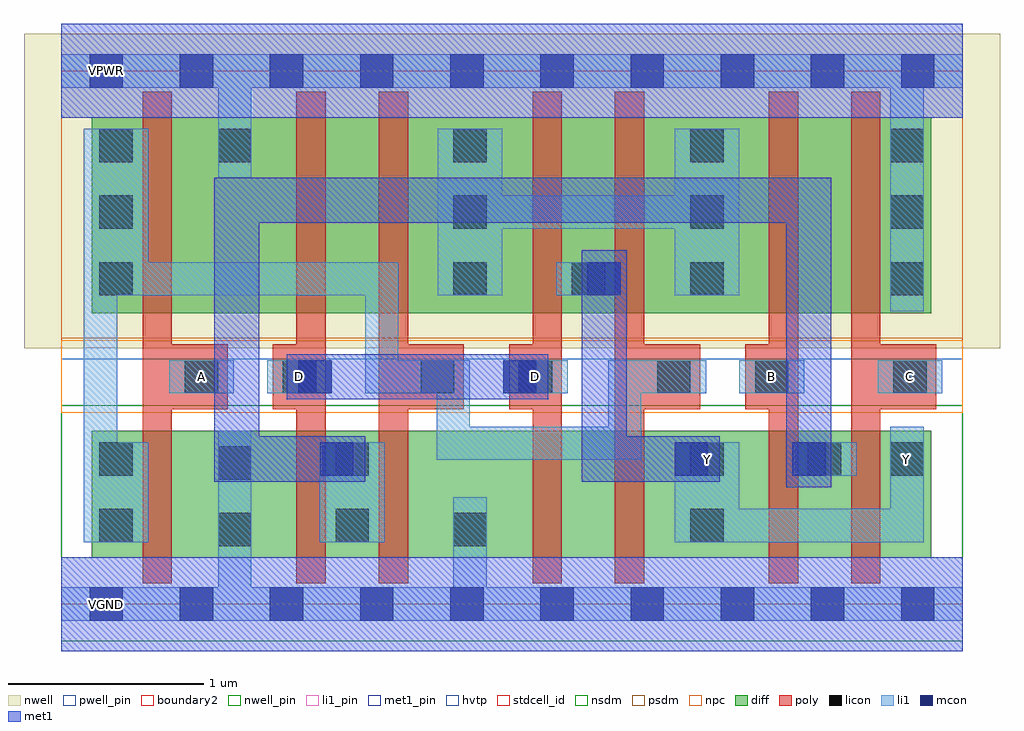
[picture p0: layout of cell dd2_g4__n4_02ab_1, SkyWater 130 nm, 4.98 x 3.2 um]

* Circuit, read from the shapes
.subckt dd2_g4__n4_02ab_1 A B C D VGND VNB VPB VPWR Y
XM1 VGND A n1 VNB sky130_fd_pr__nfet_01v8 w=0.65 l=0.15
XM2 n2 D VGND VNB sky130_fd_pr__nfet_01v8 w=0.65 l=0.15
XM3 VGND n1 n2 VNB sky130_fd_pr__nfet_01v8 w=0.65 l=0.15
XM4 n3 D VGND VNB sky130_fd_pr__nfet_01v8 w=0.65 l=0.15
XM5 Y n1 n3 VNB sky130_fd_pr__nfet_01v8 w=0.65 l=0.15
XM6 n2 B Y VNB sky130_fd_pr__nfet_01v8 w=0.65 l=0.15
XM7 Y C n2 VNB sky130_fd_pr__nfet_01v8 w=0.65 l=0.15
XM8 VPWR A n1 VPB sky130_fd_pr__pfet_01v8_hvt w=1 l=0.15
XM9 n4 D VPWR VPB sky130_fd_pr__pfet_01v8_hvt w=1 l=0.15
XM10 n5 n1 n4 VPB sky130_fd_pr__pfet_01v8_hvt w=1 l=0.15
XM11 Y D n5 VPB sky130_fd_pr__pfet_01v8_hvt w=1 l=0.15
XM12 n5 n1 Y VPB sky130_fd_pr__pfet_01v8_hvt w=1 l=0.15
XM13 n6 B n5 VPB sky130_fd_pr__pfet_01v8_hvt w=1 l=0.15
XM14 VPWR C n6 VPB sky130_fd_pr__pfet_01v8_hvt w=1 l=0.15
.ends

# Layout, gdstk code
import gdstk
lib = gdstk.Library(unit=1e-6, precision=1e-09)
def R(c, l, rs):  # rectangles x0, y0, x1, y1
    for r in rs: c.add(gdstk.rectangle(r[:2], r[2:], *l))
def A(c, l, x, y, w, h, nx, ny, dx, dy):  # array of equal rectangles
    R(c, l, [(x+i*dx, y+j*dy, x+i*dx+w, y+j*dy+h) for i in range(nx) for j in range(ny)])
nwell_pin = (64, 16)
nwell = (64, 20)
diff = (65, 20)
poly = (66, 20)
licon = (66, 44)
li1_pin = (67, 16)
li1 = (67, 20)
mcon = (67, 44)
met1_pin = (68, 16)
met1 = (68, 20)
hvtp = (78, 44)
stdcell_id = (81, 4)
nsdm = (93, 44)
psdm = (94, 20)
npc = (95, 20)
pwell_pin = (122, 16)
boundary2 = (236, 0)

dd2_g4__n4_02ab_1 = lib.new_cell('dd2_g4__n4_02ab_1')
R(dd2_g4__n4_02ab_1, nwell_pin, [(0.145,2.635,0.315,2.805)])
R(dd2_g4__n4_02ab_1, nwell, [(-0.19,1.305,4.79,2.91)])
R(dd2_g4__n4_02ab_1, diff, [(0.155,0.235,0.88,0.885), (0.88,0.235,1.485,0.885), (1.485,0.235,2.09,0.885), (2.09,0.235,2.69,0.885), (2.69,0.235,3.29,0.885), (3.29,0.235,3.895,0.885), (3.895,0.235,4.44,0.885), (0.155,1.485,0.88,2.485), (0.88,1.485,1.485,2.485), (1.485,1.485,2.09,2.485), (2.09,1.485,2.69,2.485), (2.69,1.485,3.29,2.485), (3.29,1.485,3.895,2.485), (3.895,1.485,4.44,2.485)])
A(dd2_g4__n4_02ab_1, poly, 0.415, 0.995, 0.435, 0.33, 4, 1, 1.205, 0)
A(dd2_g4__n4_02ab_1, poly, 1.08, 0.995, 0.27, 0.33, 3, 1, 1.205, 0)
R(dd2_g4__n4_02ab_1, poly, [(0.415,0.105,0.565,2.615), (1.2,0.105,1.35,2.615), (1.62,0.105,1.77,2.615), (2.405,0.105,2.555,2.615), (2.825,0.105,2.975,2.615), (3.61,0.105,3.76,2.615), (4.03,0.105,4.18,2.615)])
A(dd2_g4__n4_02ab_1, licon, 0.195, 1.575, 0.17, 0.17, 1, 3, 0, 0.34)
A(dd2_g4__n4_02ab_1, licon, 2, 1.575, 0.17, 0.17, 3, 1, 0.605, 0)
A(dd2_g4__n4_02ab_1, licon, 4.23, 1.575, 0.17, 0.17, 1, 3, 0, 0.34)
R(dd2_g4__n4_02ab_1, licon, [(0.8,0.295,0.97,0.465), (2,0.295,2.17,0.465), (0.195,0.315,0.365,0.485), (1.4,0.315,1.57,0.485), (3.21,0.315,3.38,0.485), (0.8,0.635,0.97,0.805), (0.195,0.655,0.365,0.825), (1.4,0.655,1.57,0.825), (3.21,0.655,3.38,0.825), (3.81,0.655,3.98,0.825), (4.23,0.655,4.4,0.825), (0.63,1.075,0.8,1.245), (1.13,1.075,1.3,1.245), (1.835,1.075,2.005,1.245), (2.335,1.075,2.505,1.245), (3.04,1.075,3.21,1.245), (3.54,1.075,3.71,1.245), (4.245,1.075,4.415,1.245), (2,1.915,2.17,2.085), (3.21,1.915,3.38,2.085), (0.8,2.255,0.97,2.425), (2,2.255,2.17,2.425), (3.21,2.255,3.38,2.425)])
A(dd2_g4__n4_02ab_1, li1_pin, 1.13, 1.075, 0.17, 0.17, 3, 1, 1.205, 0)
R(dd2_g4__n4_02ab_1, li1_pin, [(3.21,0.655,3.38,0.825), (4.23,0.655,4.4,0.825), (0.63,1.075,0.8,1.245), (4.245,1.075,4.415,1.245)])
A(dd2_g4__n4_02ab_1, li1, 1.92, 1.575, 0.33, 0.17, 3, 1, 0.605, 0)
R(dd2_g4__n4_02ab_1, li1, [(0,-0.085,4.6,0.085), (0.8,-0.085,0.97,0.545), (2,-0.085,2.17,0.545), (0.8,0.295,0.97,0.885), (0.115,0.315,0.445,0.825), (1.32,0.315,1.65,0.825), (3.13,0.315,3.46,0.825), (3.29,0.315,3.46,0.825), (3.29,0.315,4.4,0.485), (4.23,0.315,4.4,0.745), (4.23,0.485,4.4,0.575), (4.23,0.485,4.4,0.575), (4.23,0.485,4.4,0.575), (4.23,0.485,4.4,0.575), (4.23,0.575,4.4,0.905), (0.115,0.655,0.445,0.825), (0.115,0.655,0.285,1.745), (1.32,0.655,1.65,0.825), (3.13,0.655,3.46,0.825), (3.73,0.655,4.06,0.825), (1.915,0.735,2.085,1.245), (1.915,0.735,2.96,0.905), (2.79,0.735,2.96,1.245), (0.55,1.075,0.88,1.245), (1.05,1.075,1.38,1.245), (1.55,1.075,1.925,1.245), (1.55,1.075,1.72,1.745), (1.72,1.075,1.755,1.245), (1.72,1.075,1.755,1.245), (1.72,1.075,1.755,1.245), (1.72,1.075,1.755,1.245), (1.72,1.075,1.755,1.245), (1.72,1.075,1.755,1.245), (1.72,1.075,1.755,1.245), (1.72,1.075,1.755,1.245), (1.755,1.075,2.085,1.245), (1.755,1.075,1.915,1.245), (1.755,1.075,1.915,1.245), (1.755,1.075,1.915,1.245), (1.755,1.075,1.915,1.245), (1.755,1.075,1.915,1.245), (1.755,1.075,1.915,1.245), (1.755,1.075,1.915,1.245), (2.255,1.075,2.585,1.245), (2.79,1.075,3.13,1.245), (2.96,1.075,3.29,1.245), (3.46,1.075,3.79,1.245), (4.165,1.075,4.495,1.245), (4.23,1.495,4.4,2.085), (0.115,1.575,0.445,1.745), (0.115,1.575,0.445,2.085), (0.275,1.575,1.72,1.745), (1.92,1.575,2.25,2.085), (2.08,1.575,2.25,2.085), (3.13,1.575,3.3,2.085), (3.13,1.575,3.46,2.085), (4.23,1.835,4.4,2.425), (0.115,1.915,0.445,2.425), (1.92,1.915,2.25,2.425), (2.08,1.915,3.3,2.085), (3.13,1.915,3.46,2.425), (4.23,2.085,4.4,2.175), (4.23,2.085,4.4,2.175), (4.23,2.085,4.4,2.175), (4.23,2.085,4.4,2.175), (0.8,2.175,0.97,2.805), (4.23,2.175,4.4,2.805), (0,2.635,4.6,2.805)])
A(dd2_g4__n4_02ab_1, mcon, 0.145, -0.085, 0.17, 0.17, 10, 2, 0.46, 2.72)
R(dd2_g4__n4_02ab_1, mcon, [(1.32,0.655,1.49,0.825), (3.13,0.655,3.3,0.825), (3.73,0.655,3.9,0.825), (1.21,1.075,1.38,1.245), (2.255,1.075,2.425,1.245), (2.685,1.575,2.855,1.745)])
R(dd2_g4__n4_02ab_1, met1_pin, [(0.145,-0.085,0.315,0.085), (0.145,2.635,0.315,2.805)])
R(dd2_g4__n4_02ab_1, met1, [(0,-0.24,4.6,0.24), (3.7,0.595,3.93,0.885), (0.78,0.625,1.52,0.855), (0.78,0.625,1.01,2.175), (1.26,0.625,1.55,0.855), (2.655,0.625,3.33,0.855), (2.655,0.625,2.885,1.775), (3.07,0.625,3.36,0.855), (3.7,0.625,3.93,2.175), (1.15,1.045,1.44,1.275), (1.18,1.045,2.455,1.275), (2.195,1.045,2.485,1.275), (2.655,1.515,2.885,1.805), (0.78,1.945,3.93,2.175), (0,2.48,4.6,2.96)])
R(dd2_g4__n4_02ab_1, hvtp, [(0,1.25,4.6,2.72)])
R(dd2_g4__n4_02ab_1, stdcell_id, [(0,0,4.6,2.72)])
R(dd2_g4__n4_02ab_1, nsdm, [(0,-0.19,4.6,1.015)])
R(dd2_g4__n4_02ab_1, psdm, [(0,1.355,4.6,2.91)])
R(dd2_g4__n4_02ab_1, npc, [(0,0.975,4.6,1.345)])
R(dd2_g4__n4_02ab_1, pwell_pin, [(0.145,-0.085,0.315,0.085)])
R(dd2_g4__n4_02ab_1, boundary2, [(0,0,4.6,2.72)])
dd2_g4__n4_02ab_1.add(gdstk.Label('A', (0.715,1.16), layer=67, texttype=5))
dd2_g4__n4_02ab_1.add(gdstk.Label('B', (3.625,1.16), layer=67, texttype=5))
dd2_g4__n4_02ab_1.add(gdstk.Label('C', (4.33,1.16), layer=67, texttype=5))
dd2_g4__n4_02ab_1.add(gdstk.Label('D', (1.215,1.16), layer=67, texttype=5))
dd2_g4__n4_02ab_1.add(gdstk.Label('D', (2.42,1.16), layer=67, texttype=5))
dd2_g4__n4_02ab_1.add(gdstk.Label('Y', (3.295,0.74), layer=67, texttype=5))
dd2_g4__n4_02ab_1.add(gdstk.Label('Y', (4.315,0.74), layer=67, texttype=5))
dd2_g4__n4_02ab_1.add(gdstk.Label('VGND', (0.23,0), layer=68, texttype=5))
dd2_g4__n4_02ab_1.add(gdstk.Label('VPWR', (0.23,2.72), layer=68, texttype=5))
dd2_g4__n4_02ab_1.add(gdstk.Label('VPB', (0.23,2.72), layer=64, texttype=5))
dd2_g4__n4_02ab_1.add(gdstk.Label('VNB', (0.23,0), layer=64, texttype=59))

lib.write_gds('dd2_g4__n4_02ab_1.gds')
